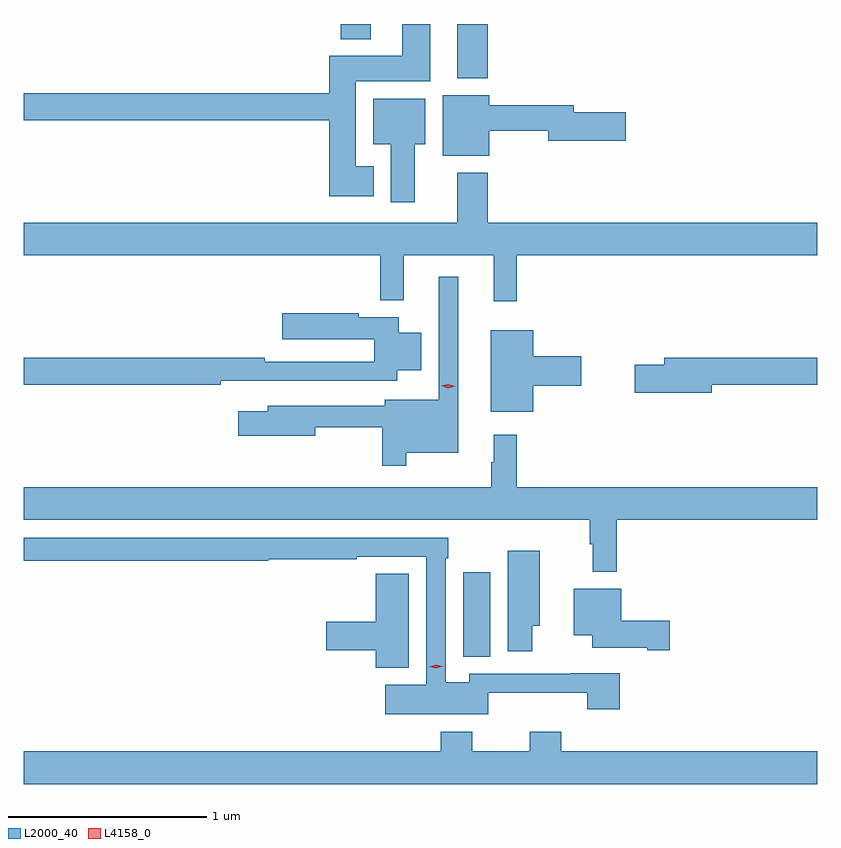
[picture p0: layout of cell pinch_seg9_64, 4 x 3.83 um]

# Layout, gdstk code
import gdstk
lib = gdstk.Library(unit=1e-6, precision=1e-09)
def R(c, l, rs):  # rectangles x0, y0, x1, y1
    for r in rs: c.add(gdstk.rectangle(r[:2], r[2:], *l))
def P(c, l, *ps):  # polygons
    for p in ps: c.add(gdstk.Polygon(p, *l))
L2000_40 = (2000, 40)
L4158_0 = (4158, 0)

pinch_seg9_64 = lib.new_cell('pinch_seg9_64')
R(pinch_seg9_64, L2000_40, [(959.453,1171.753,959.59,1172.179), (959.423,1174.667,959.576,1174.941), (958.835,1174.865,958.987,1174.941)])
P(pinch_seg9_64, L2000_40, [(959.002,1174.225),(958.912,1174.225),(958.912,1174.652),(959.287,1174.652),(959.287,1174.941),(959.147,1174.941),(959.147,1174.78),(958.778,1174.78),(958.778,1174.592),(957.238,1174.592),(957.238,1174.456),(958.778,1174.456),(958.778,1174.073),(959.002,1174.073)],
  [(959.584,1174.404),(959.882,1174.404),(959.882,1174.354),(960.271,1174.354),(960.271,1174.496),(960.01,1174.496),(960.01,1174.532),(959.584,1174.532),(959.584,1174.582),(959.351,1174.582),(959.351,1174.277),(959.584,1174.277)],
  [(959.209,1174.334),(959.263,1174.334),(959.263,1174.564),(959,1174.564),(959,1174.334),(959.087,1174.334),(959.087,1174.044),(959.209,1174.044)],
  [(959.723,1173.776),(961.238,1173.776),(961.238,1173.94),(959.576,1173.94),(959.576,1174.192),(959.423,1174.192),(959.423,1173.94),(957.238,1173.94),(957.238,1173.776),(959.035,1173.776),(959.035,1173.548),(959.153,1173.548),(959.153,1173.776),(959.606,1173.776),(959.606,1173.543),(959.723,1173.543)],
  [(959.167,1172.78),(959.428,1172.78),(959.428,1173.667),(959.331,1173.667),(959.331,1173.049),(959.057,1173.049),(959.057,1173.018),(958.469,1173.018),(958.469,1172.989),(958.32,1172.989),(958.32,1172.867),(958.708,1172.867),(958.708,1172.91),(959.046,1172.91),(959.046,1172.715),(959.167,1172.715)],
  [(958.232,1173.144),(959.122,1173.144),(959.122,1173.197),(959.242,1173.197),(959.242,1173.385),(959.128,1173.385),(959.128,1173.463),(958.926,1173.463),(958.926,1173.483),(958.542,1173.483),(958.542,1173.353),(959.006,1173.353),(959.006,1173.24),(958.454,1173.24),(958.454,1173.26),(957.238,1173.26),(957.238,1173.124),(958.232,1173.124)],
  [(959.806,1173.119),(960.049,1173.119),(960.049,1173.266),(959.806,1173.266),(959.806,1173.397),(959.591,1173.397),(959.591,1172.987),(959.806,1172.987)],
  [(960.706,1173.124),(961.238,1173.124),(961.238,1173.26),(960.467,1173.26),(960.467,1173.224),(960.318,1173.224),(960.318,1173.082),(960.706,1173.082)],
  [(960.227,1172.444),(961.238,1172.444),(961.238,1172.608),(959.723,1172.608),(959.723,1172.872),(959.606,1172.872),(959.606,1172.732),(959.595,1172.732),(959.595,1172.608),(957.238,1172.608),(957.238,1172.444),(960.091,1172.444),(960.091,1172.321),(960.106,1172.321),(960.106,1172.181),(960.227,1172.181)],
  [(959.58,1171.571),(960.077,1171.571),(960.077,1171.488),(960.242,1171.488),(960.242,1171.669),(959.993,1171.669),(959.993,1171.668),(959.484,1171.668),(959.484,1171.624),(959.364,1171.624),(959.364,1172.249),(959.377,1172.249),(959.377,1172.352),(957.238,1172.352),(957.238,1172.236),(958.471,1172.236),(958.471,1172.244),(958.916,1172.244),(958.916,1172.256),(959.268,1172.256),(959.268,1171.612),(959.061,1171.612),(959.061,1171.463),(959.58,1171.463)],
  [(959.8,1171.91),(959.839,1171.91),(959.839,1172.287),(959.678,1172.287),(959.678,1171.782),(959.8,1171.782)],
  [(959.179,1172.171),(959.012,1172.171),(959.012,1171.929),(958.764,1171.929),(958.764,1171.787),(959.012,1171.787),(959.012,1171.697),(959.179,1171.697)],
  [(960.493,1171.934),(960.25,1171.934),(960.25,1172.095),(960.011,1172.095),(960.011,1171.862),(960.104,1171.862),(960.104,1171.799),(960.38,1171.799),(960.38,1171.787),(960.493,1171.787)],
  [(961.238,1171.276),(959.948,1171.276),(959.948,1171.375),(959.788,1171.375),(959.788,1171.276),(959.499,1171.276),(959.499,1171.375),(959.339,1171.375),(959.339,1171.276),(957.238,1171.276),(957.238,1171.112),(961.238,1171.112)])
P(pinch_seg9_64, L4158_0, [(959.377,1173.107),(959.342,1173.118),(959.341,1173.118),(959.342,1173.118),(959.378,1173.127),(959.413,1173.116),(959.413,1173.115),(959.413,1173.115)],
  [(959.317,1171.694),(959.282,1171.703),(959.282,1171.703),(959.282,1171.703),(959.316,1171.714),(959.351,1171.706),(959.352,1171.706),(959.351,1171.706)])

lib.write_gds('pinch_seg9_64.gds')
